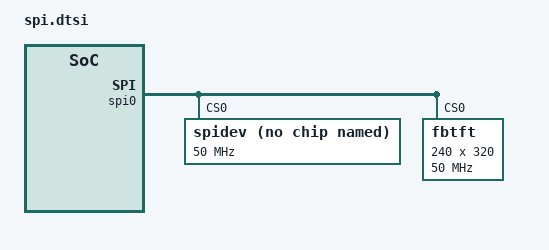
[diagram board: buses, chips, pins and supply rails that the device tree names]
// SPI
&spi0 {
	pinctrl-0 = <&spi0m0_clk &spi0m0_mosi>;     // 这里没有新增miso的，是因为没用到这个引脚
	#address-cells = <1>;
	#size-cells = <0>;
	spidev@0 {
    compatible = "rockchip,spidev";
		spi-max-frequency = <50000000>;
		reg = <0>;
	};

	fbtft@0 {
		compatible = "fbtft";
		spi-max-frequency = <50000000>;
		reg = <0>;
		width = <240>;
		height = <320>;
		rotate = <0>;
		busnum = <0>;
		cs = <0>;
		bgr = <0>;
	}
};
